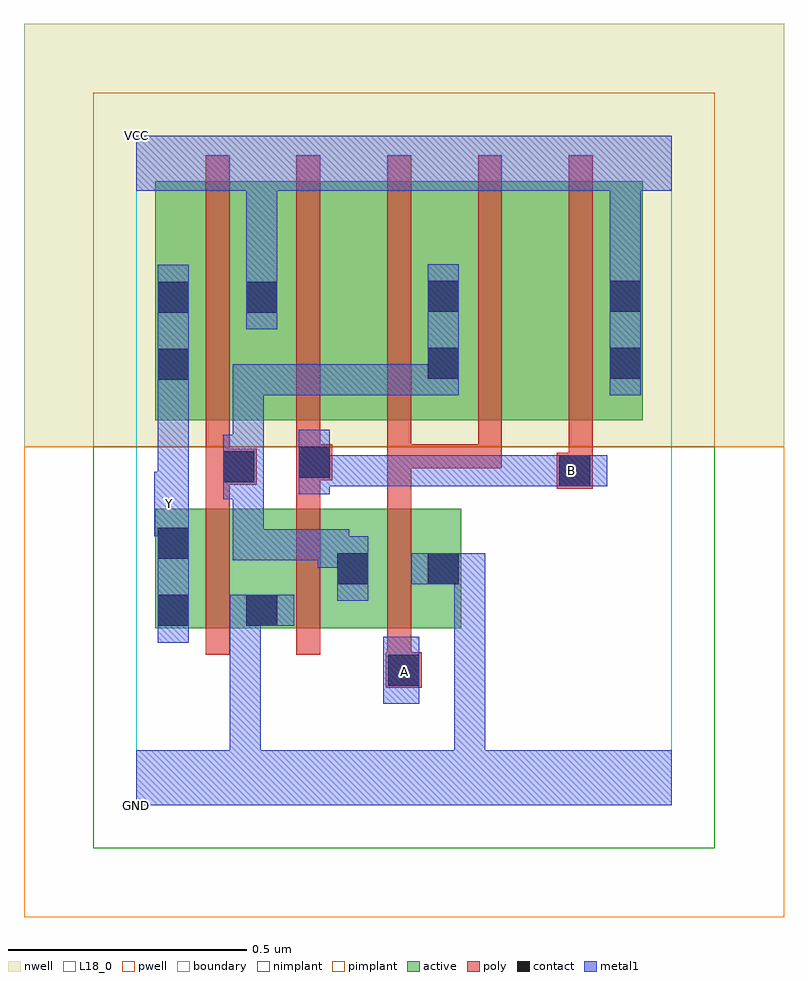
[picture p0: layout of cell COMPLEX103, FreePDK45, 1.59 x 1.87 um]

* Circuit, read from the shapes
.subckt COMPLEX103 A B GND VCC Y
M1 GND n1 Y VSUBS nfet w=0.25u l=0.05u
M2 n1 B GND VSUBS nfet w=0.25u l=0.05u
M3 GND A n1 VSUBS nfet w=0.25u l=0.05u
M4 VCC n1 Y n2 pfet w=0.5u l=0.05u
M5 n3 B VCC n2 pfet w=0.5u l=0.05u
M6 n1 A n3 n2 pfet w=0.5u l=0.05u
M7 n4 A n1 n2 pfet w=0.5u l=0.05u
M8 VCC B n4 n2 pfet w=0.5u l=0.05u
.ends

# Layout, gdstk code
import gdstk
lib = gdstk.Library(unit=1e-6, precision=1e-09)
def R(c, l, rs):  # rectangles x0, y0, x1, y1
    for r in rs: c.add(gdstk.rectangle(r[:2], r[2:], *l))
def A(c, l, x, y, w, h, nx, ny, dx, dy):  # array of equal rectangles
    R(c, l, [(x+i*dx, y+j*dy, x+i*dx+w, y+j*dy+h) for i in range(nx) for j in range(ny)])
active = (1, 0)
pwell = (2, 0)
nwell = (3, 0)
nimplant = (4, 0)
pimplant = (5, 0)
poly = (9, 0)
contact = (10, 0)
metal1 = (11, 0)
L18_0 = (18, 0)
boundary = (235, 0)

complex103 = lib.new_cell('COMPLEX103')
R(complex103, active, [(0.04,0.37,0.115,0.62), (0.04,0.37,0.3,0.62), (0.225,0.37,0.49,0.62), (0.225,0.37,0.3,0.497), (0.415,0.37,0.68,0.62), (0.415,0.37,0.49,0.532), (0.605,0.37,0.68,0.62), (0.04,0.805,0.3,1.305), (0.04,0.805,0.115,1.2), (0.225,0.805,0.3,1.305), (0.225,0.805,0.455,1.305), (0.455,0.805,0.68,1.305), (0.605,0.805,0.835,1.305), (0.835,0.805,1.06,1.305), (0.985,0.805,1.06,1.305), (0.605,0.807,0.68,1.2)])
R(complex103, pwell, [(-0.235,-0.235,1.355,0.75)])
R(complex103, nwell, [(-0.235,0.75,1.355,1.635)])
R(complex103, nimplant, [(-0.09,-0.09,1.21,0.75)])
R(complex103, pimplant, [(-0.09,0.75,1.21,1.49)])
A(complex103, poly, 0.145, 0.315, 0.05, 0.36, 3, 1, 0.19, 0)
A(complex103, poly, 0.335, 0.705, 0.05, 0.095, 3, 1, 0.19, 0)
A(complex103, poly, 0.145, 0.75, 0.05, 0.61, 5, 1, 0.19, 0)
R(complex103, poly, [(0.522,0.245,0.597,0.32), (0.525,0.27,0.575,0.365), (0.145,0.625,0.195,0.72), (0.335,0.625,0.385,0.73), (0.525,0.625,0.575,0.755), (0.88,0.662,0.955,0.737), (0.145,0.67,0.252,0.745), (0.335,0.68,0.41,0.755), (0.905,0.687,0.955,0.8), (0.145,0.695,0.195,0.8), (0.525,0.705,0.575,0.755), (0.525,0.705,0.765,0.755), (0.715,0.705,0.765,0.755), (0.715,0.705,0.765,0.755), (0.715,0.705,0.765,0.755)])
R(complex103, contact, [(0.527,0.25,0.592,0.315), (0.045,0.375,0.11,0.44), (0.23,0.375,0.295,0.44), (0.42,0.462,0.485,0.527), (0.61,0.462,0.675,0.527), (0.045,0.515,0.11,0.58), (0.885,0.667,0.95,0.732), (0.182,0.675,0.247,0.74), (0.34,0.685,0.405,0.75), (0.045,0.89,0.11,0.955), (0.61,0.892,0.675,0.957), (0.99,0.892,1.055,0.957), (0.045,1.03,0.11,1.095), (0.23,1.03,0.295,1.095), (0.61,1.032,0.675,1.097), (0.99,1.032,1.055,1.097)])
R(complex103, metal1, [(0,0,1.12,0.115), (0.195,0.05,0.26,0.115), (0.195,0.05,0.26,0.115), (0.195,0.05,0.26,0.44), (0.665,0.05,0.73,0.115), (0.665,0.05,0.73,0.115), (0.665,0.05,0.73,0.115), (0.665,0.05,0.73,0.115), (0.665,0.05,0.73,0.115), (0.665,0.05,0.73,0.115), (0.665,0.05,0.73,0.527), (0.517,0.212,0.592,0.352), (0.045,0.34,0.11,0.615), (0.195,0.375,0.26,0.44), (0.195,0.375,0.26,0.44), (0.195,0.375,0.26,0.44), (0.195,0.375,0.26,0.44), (0.195,0.375,0.33,0.44), (0.42,0.427,0.485,0.562), (0.575,0.462,0.73,0.527), (0.38,0.497,0.485,0.562), (0.38,0.497,0.445,0.577), (0.202,0.512,0.267,0.577), (0.202,0.512,0.445,0.577), (0.202,0.512,0.267,0.705), (0.045,0.55,0.11,0.627), (0.037,0.562,0.11,0.697), (0.045,0.632,0.11,0.92), (0.182,0.64,0.247,0.775), (0.182,0.64,0.267,0.705), (0.202,0.64,0.267,0.705), (0.202,0.64,0.267,0.922), (0.34,0.65,0.405,0.785), (0.34,0.667,0.405,0.732), (0.34,0.667,0.405,0.732), (0.34,0.667,0.582,0.732), (0.517,0.667,0.582,0.732), (0.517,0.667,0.582,0.732), (0.517,0.667,0.582,0.732), (0.517,0.667,0.73,0.732), (0.665,0.667,0.73,0.732), (0.665,0.667,0.907,0.732), (0.842,0.667,0.907,0.732), (0.842,0.667,0.907,0.732), (0.842,0.667,0.985,0.732), (0.045,0.855,0.11,1.13), (0.202,0.857,0.267,0.922), (0.202,0.857,0.445,0.922), (0.38,0.857,0.445,0.922), (0.38,0.857,0.445,0.922), (0.38,0.857,0.445,0.922), (0.38,0.857,0.582,0.922), (0.517,0.857,0.582,0.922), (0.517,0.857,0.675,0.922), (0.61,0.857,0.675,1.132), (0.99,0.857,1.055,1.132), (0.23,0.995,0.295,1.13), (0.23,1.065,0.295,1.35), (0.99,1.067,1.055,1.35), (0,1.285,1.12,1.4)])
R(complex103, L18_0, [(0,0,1.12,0.115), (0.195,0.05,0.26,0.115), (0.195,0.05,0.26,0.115), (0.195,0.05,0.26,0.44), (0.665,0.05,0.73,0.115), (0.665,0.05,0.73,0.115), (0.665,0.05,0.73,0.115), (0.665,0.05,0.73,0.115), (0.665,0.05,0.73,0.115), (0.665,0.05,0.73,0.115), (0.665,0.05,0.73,0.527), (0.517,0.212,0.592,0.352), (0.527,0.247,0.592,0.312), (0.045,0.34,0.11,0.615), (0.195,0.375,0.26,0.44), (0.195,0.375,0.26,0.44), (0.195,0.375,0.26,0.44), (0.195,0.375,0.26,0.44), (0.195,0.375,0.33,0.44), (0.575,0.462,0.73,0.527), (0.045,0.55,0.11,0.627), (0.037,0.562,0.11,0.697), (0.037,0.597,0.102,0.662), (0.045,0.632,0.11,0.92), (0.34,0.65,0.405,0.785), (0.34,0.667,0.405,0.732), (0.34,0.667,0.405,0.732), (0.34,0.667,0.582,0.732), (0.517,0.667,0.582,0.732), (0.517,0.667,0.582,0.732), (0.517,0.667,0.582,0.732), (0.517,0.667,0.73,0.732), (0.665,0.667,0.73,0.732), (0.665,0.667,0.907,0.732), (0.842,0.667,0.907,0.732), (0.842,0.667,0.907,0.732), (0.842,0.667,0.985,0.732), (0.877,0.667,0.942,0.732), (0.045,0.855,0.11,1.13), (0.99,0.857,1.055,1.132), (0.23,0.995,0.295,1.13), (0.23,1.065,0.295,1.35), (0.99,1.067,1.055,1.35), (0,1.285,1.12,1.4)])
R(complex103, boundary, [(0,0,1.12,1.4)])
complex103.add(gdstk.Label('A', (0.56,0.28), layer=11, texttype=0))
complex103.add(gdstk.Label('B', (0.91,0.7), layer=11, texttype=0))
complex103.add(gdstk.Label('Y', (0.07,0.63), layer=11, texttype=0))
complex103.add(gdstk.Label('VCC', (0,1.4), layer=11, texttype=0))
complex103.add(gdstk.Label('GND', (0,0), layer=11, texttype=0))

lib.write_gds('COMPLEX103.gds')
